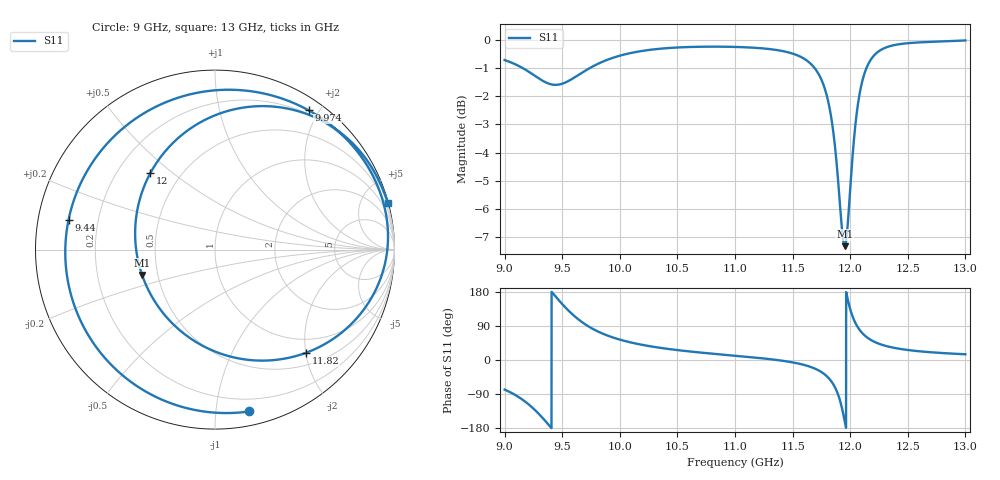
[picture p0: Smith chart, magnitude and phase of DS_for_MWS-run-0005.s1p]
! TOUCHSTONE file generated by CST DESIGN STUDIO
! Date and time: Tue Feb  4 14:27:45 2025
! Project name: C:\Work\MatlabApps\UnitCellOptimizationMatlab\CST\unitcell.cst
! Tree item: Tasks\Sweep1\SPara1\S-Parameters
! Header version: 2024
! Port assignment regex: !\s*Touchstone port\s*([0-9]+)\s*=\s*(CST MWS port|CST DES external port|CST DES block port)\s*(.+)\s* \(\"(.*)\"\)(\s*mode\s*([0-9]+))?.*
! Touchstone port assignment:
! Touchstone port 1 = CST DES external port 1 ("")
# GHz S MA R 50
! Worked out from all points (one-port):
!   4001 points, 9 GHz to 13 GHz, reference 50 ohm
!   lowest |S11| = -7.3 dB at 11.95 GHz (marker M1), VSWR 2.51, Z = 20.4 - j7.1 ohm
!   |S11| at or under -10 dB: nowhere
!   S11 on the Smith chart (normalised r, x): 9 GHz: 0.10, -1.23; 9.44 GHz: 0.09, +0.10; 9.974 GHz: 0.15, +1.87; 11.82 GHz: 0.72, -2.00; 12 GHz: 0.34, +0.42; 13 GHz: 0.04, +7.56
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9  0.9217 -78.1
9.13  0.8981 -99.4
9.23  0.8731 -122.7
9.347  0.8431 -158.7
9.44  0.8327 168.5
9.5  0.8365 147.7
9.588  0.8537 120.7
9.682  0.8778 97.8
9.822  0.91 73.5
9.974  0.935 56.1
10  0.9383 53.8
10.5  0.9704 26.1
11  0.9726 11.3
11.5  0.9464 -6.3
11.699  0.8876 -23.4
11.816  0.7662 -48.7
11.892  0.5727 -88.8
11.921  0.4806 -117.5
11.952  0.4301 -160.7
12  0.5431 134.2
12.004  0.5584 130.1
12.038  0.6842 102.3
12.074  0.7858 82.8
12.128  0.8775 64.2
12.189  0.9296 51.2
12.311  0.9705 37.0
12.5  0.9876 26.4
13  0.9987 15.1
